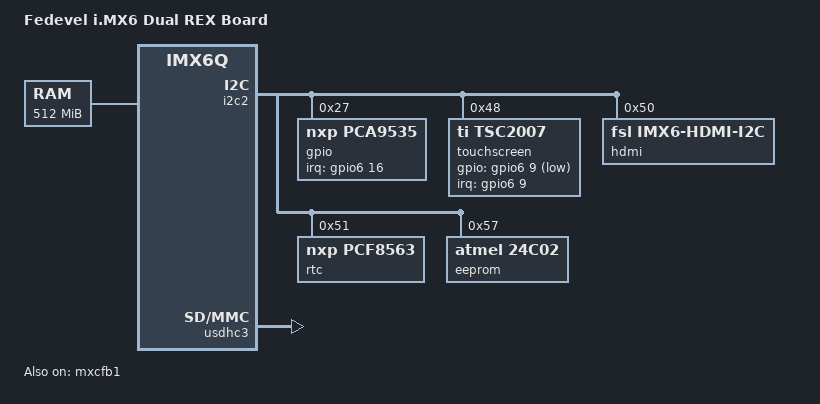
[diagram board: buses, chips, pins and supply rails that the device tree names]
/*
 * Copyright (C) 2015-2017 Voipac.
 *
 * The code contained herein is licensed under the GNU General Public
 * License. You may obtain a copy of the GNU General Public License
 * Version 2 or later at the following locations:
 *
 * http://www.opensource.org/licenses/gpl-license.html
 * http://www.gnu.org/copyleft/gpl.html
 */

/dts-v1/;

#include "imx6q.dtsi"
#include "imx6qdl-rex.dtsi"

/ {
	model = "Fedevel i.MX6 Dual REX Board";
	compatible = "fsl,imx6q-rex", "fsl,imx6q";

	memory: memory {
		reg = <0x10000000 0x20000000>;
	};
};

&i2c1 {
	status = "disabled";

	codec: sgtl5000@0a {
		compatible = "fsl,sgtl5000";
		reg = <0x0a>;
		clocks = <&clks 201>;
		VDDA-supply = <&reg_3p3v>;
		VDDIO-supply = <&reg_3p3v>;
	};
};

&i2c2 {
	status = "okay";

	gpio: pca9535@27 {
		compatible = "nxp,pca9535";
		reg = <0x27>;
		pinctrl-names = "default";
		pinctrl-0 = <&pinctrl_pca9535>;
		interrupt-parent = <&gpio6>;
		interrupts = <16 IRQ_TYPE_LEVEL_LOW>;
	};

	touchscreen: tsc2007@48 {
		compatible = "ti,tsc2007";
		reg = <0x48>;
		pinctrl-names = "default";
		pinctrl-0 = <&pinctrl_tsc2007>;
		interrupt-parent = <&gpio6>;
		interrupts = <9 IRQ_TYPE_LEVEL_LOW>;
		gpios = <&gpio6 9 1>;
		ti,x-plate-ohms = <500>;
	};

	hdmi: edid@50 {
		compatible = "fsl,imx6-hdmi-i2c";
		reg = <0x50>;
	};

	rtc: pcf8563@51 {
		compatible = "nxp,pcf8563";
		reg = <0x51>;
	};

	eeprom: at24@57 {
		compatible = "atmel,24c02";
		reg = <0x57>;
	};
};

&i2c3 {
	status = "disabled";
};

&ldb {
	lvds-channel@0 {
		crtc = "ipu1-di0";
	};

	lvds-channel@1 {
		crtc = "ipu1-di1";
	};
};

&mxcfb1 {
	status = "okay";
};

&mxcfb2 {
	status = "disabled";
};

&mxcfb3 {
	status = "disabled";
};

&mxcfb4 {
	status = "disabled";
};

&pcie {
	status = "disabled";
};

&sata {
	status = "disabled";
};

&uart2 {
	status = "disabled";
};

&usbh1 {
	status = "disabled";
};

&usdhc2 {
	status = "disabled";
};

&usdhc3 {
	status = "okay";
};
